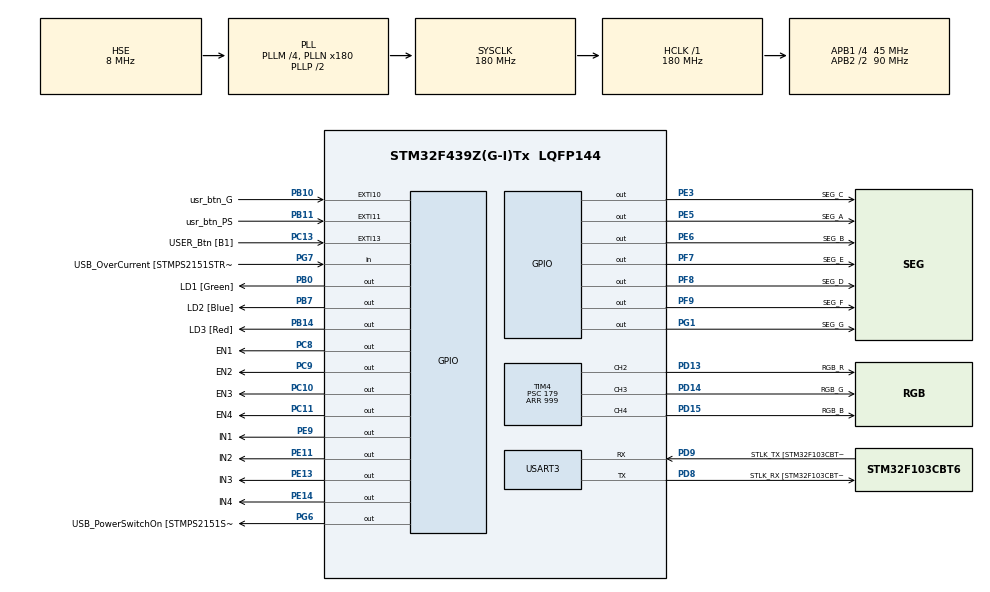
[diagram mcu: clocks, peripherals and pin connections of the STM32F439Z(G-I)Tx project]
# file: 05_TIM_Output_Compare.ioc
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Mcu.Family=STM32F4
Mcu.Name=STM32F439Z(G-I)Tx
Mcu.Package=LQFP144
NVIC.EXTI15_10_IRQn=true\:0\:0\:false\:false\:true\:true\:true\:true
NVIC.PriorityGroup=NVIC_PRIORITYGROUP_4
NVIC.TIM2_IRQn=true\:0\:0\:false\:false\:true\:true\:true\:true
NVIC.TIM5_IRQn=true\:0\:0\:false\:false\:true\:true\:true\:true
PA13.GPIO_Label=TMS
PA13.Mode=Serial_Wire
PA13.Signal=SYS_JTMS-SWDIO
PA14.GPIO_Label=TCK
PA14.Mode=Serial_Wire
PA14.Signal=SYS_JTCK-SWCLK
PB0.GPIO_Label=LD1 [Green]
PB0.Signal=GPIO_Output
PB10.GPIO_Label=usr_btn_G
PB10.GPIO_ModeDefaultEXTI=GPIO_MODE_IT_FALLING
PB10.GPIO_PuPd=GPIO_PULLUP
PB10.Signal=GPXTI10
PB11.GPIO_Label=usr_btn_PS
PB11.GPIO_ModeDefaultEXTI=GPIO_MODE_IT_FALLING
PB11.GPIO_PuPd=GPIO_PULLUP
PB11.Signal=GPXTI11
PB14.GPIO_Label=LD3 [Red]
PB14.Signal=GPIO_Output
PB7.GPIO_Label=LD2 [Blue]
PB7.Signal=GPIO_Output
PC10.GPIO_Label=EN3
PC10.Signal=GPIO_Output
PC11.GPIO_Label=EN4
PC11.Signal=GPIO_Output
PC13.GPIO_Label=USER_Btn [B1]
PC13.Signal=GPXTI13
PC14/OSC32_IN.Mode=LSE-External-Oscillator
PC14/OSC32_IN.Signal=RCC_OSC32_IN
PC15/OSC32_OUT.Mode=LSE-External-Oscillator
PC15/OSC32_OUT.Signal=RCC_OSC32_OUT
PC8.GPIO_Label=EN1
PC8.Signal=GPIO_Output
PC9.GPIO_Label=EN2
PC9.Signal=GPIO_Output
PD13.GPIO_Label=RGB_R
PD13.Signal=S_TIM4_CH2
PD14.GPIO_Label=RGB_G
PD14.Signal=S_TIM4_CH3
PD15.GPIO_Label=RGB_B
PD15.Signal=S_TIM4_CH4
PD8.GPIO_Label=STLK_RX [STM32F103CBT6_PA3]
PD8.Mode=Asynchronous
PD8.Signal=USART3_TX
PD9.GPIO_Label=STLK_TX [STM32F103CBT6_PA2]
PD9.Mode=Asynchronous
PD9.Signal=USART3_RX
PE11.GPIO_Label=IN2
PE11.Signal=GPIO_Output
PE13.GPIO_Label=IN3
PE13.Signal=GPIO_Output
PE14.GPIO_Label=IN4
PE14.Signal=GPIO_Output
PE3.GPIO_Label=SEG_C
PE3.Signal=GPIO_Output
PE5.GPIO_Label=SEG_A
PE5.Signal=GPIO_Output
PE6.GPIO_Label=SEG_B
PE6.Signal=GPIO_Output
PE9.GPIO_Label=IN1
PE9.Signal=GPIO_Output
PF7.GPIO_Label=SEG_E
PF7.Signal=GPIO_Output
PF8.GPIO_Label=SEG_D
PF8.Signal=GPIO_Output
PF9.GPIO_Label=SEG_F
PF9.Signal=GPIO_Output
PG1.GPIO_Label=SEG_G
PG1.Signal=GPIO_Output
PG6.GPIO_Label=USB_PowerSwitchOn [STMPS2151STR_EN]
PG6.Signal=GPIO_Output
PG7.GPIO_Label=USB_OverCurrent [STMPS2151STR_FAULT]
PG7.Signal=GPIO_Input
PH0/OSC_IN.GPIO_Label=MCO [STM32F103CBT6_PA8]
PH0/OSC_IN.Mode=HSE-External-Oscillator
PH0/OSC_IN.Signal=RCC_OSC_IN
PH1/OSC_OUT.Mode=HSE-External-Oscillator
PH1/OSC_OUT.Signal=RCC_OSC_OUT
ProjectManager.HeapSize=0x200
ProjectManager.StackSize=0x400
ProjectManager.TargetToolchain=STM32CubeIDE
RCC.48MHZClocksFreq_Value=51428571.428571425
RCC.AHBFreq_Value=180000000
RCC.APB1CLKDivider=RCC_HCLK_DIV4
RCC.APB1Freq_Value=45000000
RCC.APB1TimFreq_Value=90000000
RCC.APB2CLKDivider=RCC_HCLK_DIV2
RCC.APB2Freq_Value=90000000
RCC.APB2TimFreq_Value=180000000
RCC.CortexFreq_Value=180000000
RCC.HCLKFreq_Value=180000000
RCC.HSE_VALUE=8000000
RCC.HSI_VALUE=16000000
RCC.PLLM=4
RCC.PLLMUL=RCC_PLL_MUL9
RCC.PLLN=180
RCC.PLLQ=7
RCC.PLLSourceVirtual=RCC_PLLSOURCE_HSE
RCC.PRESCALERUSB=RCC_USBCLKSOURCE_PLL_DIV1_5
RCC.SYSCLKFreq_VALUE=180000000
RCC.SYSCLKSource=RCC_SYSCLKSOURCE_PLLCLK
RCC.SYSCLKSourceVirtual=RCC_SYSCLKSOURCE_PLLCLK
RCC.USBFreq_Value=48000000
RCC.VCOOutputFreq_Value=360000000
SH.S_TIM4_CH2.0=TIM4_CH2,PWM Generation2 CH2
SH.S_TIM4_CH3.0=TIM4_CH3,PWM Generation3 CH3
SH.S_TIM4_CH4.0=TIM4_CH4,PWM Generation4 CH4
TIM2.Period=1999
TIM2.Prescaler=89
TIM4.Channel-PWM\ Generation2\ CH2=TIM_CHANNEL_2
TIM4.Channel-PWM\ Generation3\ CH3=TIM_CHANNEL_3
TIM4.Channel-PWM\ Generation4\ CH4=TIM_CHANNEL_4
TIM4.Period=999
TIM4.Prescaler=179
TIM5.Channel-Output\ Compare1\ No\ Output=TIM_CHANNEL_1
TIM5.OCMode_1=TIM_OCMODE_TOGGLE
TIM5.Prescaler=89
USART3.VirtualMode=VM_ASYNC
VP_TIM2_VS_ClockSourceINT.Mode=Internal
VP_TIM4_VS_ClockSourceINT.Mode=Internal
VP_TIM5_VS_ClockSourceINT.Mode=Internal
VP_TIM5_VS_no_output1.Mode=Output Compare1 No Output
board=NUCLEO-F439ZI

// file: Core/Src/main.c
/* USER CODE BEGIN Header */
/**
 ******************************************************************************
 * @file           : main.c
 * @brief          : Main program body
 ******************************************************************************
 * @attention
 *
 * Copyright (c) 2026 STMicroelectronics.
 * All rights reserved.
 *
 * This software is licensed under terms that can be found in the LICENSE file
 * in the root directory of this software component.
 * If no LICENSE file comes with this software, it is provided AS-IS.
 *
 ******************************************************************************
 */
/* USER CODE END Header */
#include "main.h"

/* USER CODE BEGIN Includes */
#include "rgb_led.h"
#include "Display_7Seg.h"
#include "step_motor_28BYJ48.h"
#include "stdio.h"
#include "string.h"
/* USER CODE END Includes */

TIM_HandleTypeDef htim2;
TIM_HandleTypeDef htim4;
TIM_HandleTypeDef htim5;

UART_HandleTypeDef huart3;

/* USER CODE BEGIN PV */

/* --- Objeto para el Led RGB --- */
rgb_led_t ledRGB;

/* --- Objeto para los display de 7 segmentos --- */
display_7seg_t Display;
uint8_t bufferDisplay[4]; //buffer para la cantidad de displays

/* --- Objeto para el motor --- */
Stepper_t motor1;

/* Banderas y Variables de Estado */
typedef enum {
	MOTOR_STOPPED = 0,
	MOTOR_RUNNING
} MotorState_t;

volatile MotorState_t current_state = MOTOR_STOPPED;
volatile uint8_t flag_update_display = 0;
uint32_t last_telemetry_tick = 0;
uint32_t last_display_tick = 0;

char uart_buf[100];
uint32_t step_delay = 900; // marca la velocidad del motor

/* USER CODE END PV */

void SystemClock_Config(void);
static void MX_GPIO_Init(void);
static void MX_USART3_UART_Init(void);
static void MX_TIM5_Init(void);
static void MX_TIM2_Init(void);
static void MX_TIM4_Init(void);
/* USER CODE BEGIN PFP */

/* --- Prototipos de Funciones de Aplicación --- */
void Debug_Log(const char *msg);
void Update_Display_String(void);

/* --- Prototipos de Funciones Adaptadoras (Capa de Acoplamiento / PAL) --- */
void	 PAL_STM32_GPIO_Write(generic_gpio_t gpio, bool state);
void     PAL_STM32_PWM_Write(generic_pwm_t ch, uint16_t value);
uint32_t PAL_STM32_GetTick(void);
uint32_t PAL_STM32_OC_Read(generic_pwm_t ch);
void	 PAL_STM32_OC_Write(generic_pwm_t ch, uint32_t value);

void     PAL_Display_WritePin(display_gpio_t pin, bool state);
bool     PAL_Display_ReadPin(display_gpio_t pin);
uint32_t PAL_Display_GetTick(void);

/* USER CODE END PFP */

/* USER CODE BEGIN 0 */

void Debug_Log(const char *msg) {
	HAL_UART_Transmit(&huart3, (uint8_t*)msg, strlen(msg), 100);
}

void Update_Display_String(void) {
	char status_str[5];
	if (current_state == MOTOR_RUNNING) {
		float rpm = (60.0f * 1000000.0f) / (step_delay * 4096.0f);

		// CORREGIDO: Puntero a string con comillas dobles
		const char* dir_str = (motor1.direction == STEP_CW) ? "SH" : "SA";

		// CORREGIDO: Cambiamos %c por %s
		sprintf(status_str, "%s%02d", dir_str, (int)rpm);
		Display7Seg_WriteString(&Display, status_str);
	} else {
		Display7Seg_WriteString(&Display, "StP");
	}
}

/* ========================================================================== */
/* ---- IMPLEMENTACIÓN DE ADAPTADORES DE HARDWARE (CONTRATOS PAL) ----------- */
/* ========================================================================== */

/* --- Adaptadores para PAL Universal --- */

void PAL_STM32_GPIO_Write(generic_gpio_t gpio, bool state) {
    HAL_GPIO_WritePin((GPIO_TypeDef*)gpio.port, gpio.pin, state ? GPIO_PIN_SET : GPIO_PIN_RESET);
}

void PAL_STM32_PWM_Write(generic_pwm_t ch, uint16_t value) {
	__HAL_TIM_SET_COMPARE((TIM_HandleTypeDef*)ch.timer_handle, ch.channel, value);
}

uint32_t PAL_STM32_GetTick(void) {
	return HAL_GetTick();
}

uint32_t PAL_STM32_OC_Read(generic_pwm_t ch) {
    return HAL_TIM_ReadCapturedValue((TIM_HandleTypeDef*)ch.timer_handle, ch.channel);
}

void PAL_STM32_OC_Write(generic_pwm_t ch, uint32_t value) {
    __HAL_TIM_SET_COMPARE((TIM_HandleTypeDef*)ch.timer_handle, ch.channel, value);
}

/* --- Adaptadores para PAL del Display de 7 Segmentos --- */
void PAL_Display_WritePin(display_gpio_t pin, bool state) {
	HAL_GPIO_WritePin((GPIO_TypeDef*)pin.port, pin.pin, state ? GPIO_PIN_SET : GPIO_PIN_RESET);
}

bool PAL_Display_ReadPin(display_gpio_t pin) {
	return (HAL_GPIO_ReadPin((GPIO_TypeDef*)pin.port, pin.pin) == GPIO_PIN_SET);
}

uint32_t PAL_Display_GetTick(void) {
	return HAL_GetTick();
}

/* USER CODE END 0 */

int main(void)
{

	/* MCU Configuration--------------------------------------------------------*/

	/* Reset of all peripherals, Initializes the Flash interface and the Systick. */
	HAL_Init();

	/* Configure the system clock */
	SystemClock_Config();

	/* Initialize all configured peripherals */
	MX_GPIO_Init();
	MX_USART3_UART_Init();
	MX_TIM5_Init();
	MX_TIM2_Init();
	MX_TIM4_Init();
	/* USER CODE BEGIN 2 */

	/* --- Log de Bienvenida: Laboratorio 05 --- */
	Debug_Log("\r\n==========================================\r\n");
	Debug_Log("   LABORATORIO 05: OUTPUT COMPARE (TIM5)  \r\n");
	Debug_Log("   CONTROL DE MOTOR PASO A PASO (28BYJ)   \r\n");
	Debug_Log("   Plataforma: STM32 Nucleo-F439ZI        \r\n");
	Debug_Log("==========================================\r\n");
	Debug_Log("[OK] Nucleo Clock: 180 MHz\r\n");
	Debug_Log(">>> Iniciando Perifericos...\r\n");

	// *********************** CONFIGURACION DEL MOTOR (TEMPORAL) ********************
	hal_interface_t motor_pal = {
	    .gpio_write = PAL_STM32_GPIO_Write, // Reutiliza el de GPIO que ya tenías
	    .oc_read    = PAL_STM32_OC_Read,
	    .oc_write   = PAL_STM32_OC_Write
	};

	generic_gpio_t motor_pins[] = {
	    {IN1_GPIO_Port, IN1_Pin}, {IN2_GPIO_Port, IN2_Pin},
	    {IN3_GPIO_Port, IN3_Pin}, {IN4_GPIO_Port, IN4_Pin}
	};
	generic_pwm_t motor_oc = { .timer_handle = &htim5, .channel = TIM_CHANNEL_1 };

	Stepper_Init(&motor1, motor_pins, motor_oc, MODE_HALF_STEP, step_delay, motor_pal);
	Stepper_Stop(&motor1);
	Debug_Log("[OK] Driver Stepper Temporal Activo\r\n");

	// Sincronización Inicial del Output Compare (TIM5)
	uint32_t initial_capture = __HAL_TIM_GET_COUNTER(&htim5);
	__HAL_TIM_SET_COMPARE(&htim5, TIM_CHANNEL_1, initial_capture + step_delay);
	HAL_TIM_OC_Start_IT(&htim5, TIM_CHANNEL_1);
	Debug_Log("[OK] Periferico TIM5: Output Compare Sincronizado\r\n");

	// *********************** CONFIGURACION DEL DISPLAY DE 7 SEGMENTOS ********************
	// 1. Mapeo de Hardware a tipos display_gpio_t
	static display_gpio_t segmentos[] = {
			{SEG_A_GPIO_Port, SEG_A_Pin}, {SEG_B_GPIO_Port, SEG_B_Pin},
			{SEG_C_GPIO_Port, SEG_C_Pin}, {SEG_D_GPIO_Port, SEG_D_Pin},
			{SEG_E_GPIO_Port, SEG_E_Pin}, {SEG_F_GPIO_Port, SEG_F_Pin},
			{SEG_G_GPIO_Port, SEG_G_Pin}
	};
	static display_gpio_t comunes[] = {
			{EN4_GPIO_Port, EN4_Pin}, {EN3_GPIO_Port, EN3_Pin},
			{EN2_GPIO_Port, EN2_Pin}, {EN1_GPIO_Port, EN1_Pin}
	};

	// 2. Vinculación de la vtable (PAL) específica
	display_7seg_pal_t display_pal = {
			.write_pin = PAL_Display_WritePin,
			.read_pin  = PAL_Display_ReadPin,
			.get_tick  = PAL_Display_GetTick
	};

	// 3. Inicialización del objeto
	Display7Seg_Init(&Display, display_pal, segmentos, comunes, 4, bufferDisplay, DISPLAY_CATHODE);
	HAL_TIM_Base_Start_IT(&htim2); // Arranca el latido del multiplexado (TIM2 ISR)

	Display7Seg_SetBrightness(&Display, 80);
	Display7Seg_WriteString(&Display, "HOLA");
	HAL_Delay(1000);
	Debug_Log("[OK] Driver 7 Segmentos: Objeto Inicializado con PAL\r\n");

	// *********************** CONFIGURACION DEL LED RGB ***********************
	// 1. Descriptores genéricos de canales PWM
	generic_pwm_t ch_r = { .timer_handle = &htim4, .channel = TIM_CHANNEL_2 };
	generic_pwm_t ch_g = { .timer_handle = &htim4, .channel = TIM_CHANNEL_3 };
	generic_pwm_t ch_b = { .timer_handle = &htim4, .channel = TIM_CHANNEL_4 };

	// 2. Vinculación de la vtable (PAL) Universal
	hal_interface_t led_pal = {
			.pwm_write = PAL_STM32_PWM_Write,
			.get_tick  = PAL_STM32_GetTick
	};

	// 3. Inicialización del objeto
	RGB_LED_Init(&ledRGB, ch_r, ch_g, ch_b, RGB_ANODE_COMMON, 500, led_pal);
	RGB_LED_SetColor(&ledRGB, 1000, 0, 0); // Estado inicial rojo estático (STOP)
	Debug_Log("[OK] Driver LED RGB: Inicializado con PAL Universal\r\n");

	Debug_Log(">>> Infraestructura Lista. Corriendo Scheduler...\r\n\r\n");
	/* USER CODE END 2 */

	/* Infinite loop */
	while (1)
	{

		/* USER CODE BEGIN 3 */

		uint32_t current_tick = HAL_GetTick();

		/* --- Tarea 1: Tarea periódica de Efectos RGB (No bloqueante) --- */
		// Procesa las transiciones cromáticas de la Capa 2
		RGB_LED_Task(&ledRGB, 15, 5);

		/* --- Tarea 2: Máquina de Estados de la Aplicación (Banderas EXTI) --- */
		if (flag_update_display) {
			flag_update_display = 0;

			if (current_state == MOTOR_RUNNING) {
				RGB_LED_StopEffect(&ledRGB);
				Display7Seg_SetFlash(&Display, 0); // Sólido en marcha

				// Asignación semántica de colores según dirección de giro
				if (motor1.direction == STEP_CW) {
					RGB_LED_SetColor(&ledRGB, 0, 1000, 0); // Verde Puro con Gamma
					Debug_Log("[EVENT] Motor RUN -> Dirección: CW (Horario)\r\n");
				} else {
					RGB_LED_SetColor(&ledRGB, 0, 0, 1000); // Azul Puro con Gamma
					Debug_Log("[EVENT] Motor RUN -> Dirección: CCW (Antihorario)\r\n");
				}
			} else {
				// Feedback de parada: Rojo Fijo y Display Destellando
				RGB_LED_StopEffect(&ledRGB);
				RGB_LED_SetColor(&ledRGB, 1000, 0, 0); // Rojo de Advertencia
				Display7Seg_SetFlash(&Display, 500);   // Parpadeo cada 500ms
				Debug_Log("[EVENT] Motor STOPPED (Lazo Seguro)\r\n");
			}

			last_display_tick = current_tick;
			Update_Display_String();
		}

		/* --- Tarea 3: Reporte de Telemetría UART (Cada 1000ms) --- */
		if (current_tick - last_telemetry_tick >= 1000) {
			last_telemetry_tick = current_tick;

			if (current_state == MOTOR_RUNNING) {
				float rpm = (60.0f * 1000000.0f) / (step_delay * 4096.0f);
				snprintf(uart_buf, sizeof(uart_buf),
						"[STATUS] State: RUN | Dir: %s | RPM: %.2f | Delay: %lu us\r\n",
						(motor1.direction == STEP_CW) ? "CW" : "CCW", rpm, step_delay);
			} else {
				snprintf(uart_buf, sizeof(uart_buf), "[STATUS] State: IDLE | Esperando Comandos de Usuario...\r\n");
			}
			Debug_Log(uart_buf);
		}

		/* --- Tarea 4: Actualización de Memoria de Display (Cada 200ms) --- */
		if (current_tick - last_display_tick >= 200) {
			last_display_tick = current_tick;
			Update_Display_String();
		}

	}
	/* USER CODE END 3 */
}

void SystemClock_Config(void)
{
	RCC_OscInitTypeDef RCC_OscInitStruct = {0};
	RCC_ClkInitTypeDef RCC_ClkInitStruct = {0};

	/** Configure the main internal regulator output voltage
	 */
	__HAL_RCC_PWR_CLK_ENABLE();
	__HAL_PWR_VOLTAGESCALING_CONFIG(PWR_REGULATOR_VOLTAGE_SCALE1);

	/** Initializes the RCC Oscillators according to the specified parameters
	 * in the RCC_OscInitTypeDef structure.
	 */
	RCC_OscInitStruct.OscillatorType = RCC_OSCILLATORTYPE_HSE;
	RCC_OscInitStruct.HSEState = RCC_HSE_ON;
	RCC_OscInitStruct.PLL.PLLState = RCC_PLL_ON;
	RCC_OscInitStruct.PLL.PLLSource = RCC_PLLSOURCE_HSE;
	RCC_OscInitStruct.PLL.PLLM = 4;
	RCC_OscInitStruct.PLL.PLLN = 180;
	RCC_OscInitStruct.PLL.PLLP = RCC_PLLP_DIV2;
	RCC_OscInitStruct.PLL.PLLQ = 7;
	if (HAL_RCC_OscConfig(&RCC_OscInitStruct) != HAL_OK)
	{
		Error_Handler();
	}

	/** Activate the Over-Drive mode
	 */
	if (HAL_PWREx_EnableOverDrive() != HAL_OK)
	{
		Error_Handler();
	}

	/** Initializes the CPU, AHB and APB buses clocks
	 */
	RCC_ClkInitStruct.ClockType = RCC_CLOCKTYPE_HCLK|RCC_CLOCKTYPE_SYSCLK
			|RCC_CLOCKTYPE_PCLK1|RCC_CLOCKTYPE_PCLK2;
	RCC_ClkInitStruct.SYSCLKSource = RCC_SYSCLKSOURCE_PLLCLK;
	RCC_ClkInitStruct.AHBCLKDivider = RCC_SYSCLK_DIV1;
	RCC_ClkInitStruct.APB1CLKDivider = RCC_HCLK_DIV4;
	RCC_ClkInitStruct.APB2CLKDivider = RCC_HCLK_DIV2;

	if (HAL_RCC_ClockConfig(&RCC_ClkInitStruct, FLASH_LATENCY_5) != HAL_OK)
	{
		Error_Handler();
	}
}

static void MX_TIM2_Init(void)
{

	TIM_ClockConfigTypeDef sClockSourceConfig = {0};
	TIM_MasterConfigTypeDef sMasterConfig = {0};

	htim2.Instance = TIM2;
	htim2.Init.Prescaler = 89;
	htim2.Init.CounterMode = TIM_COUNTERMODE_UP;
	htim2.Init.Period = 1999;
	htim2.Init.ClockDivision = TIM_CLOCKDIVISION_DIV1;
	htim2.Init.AutoReloadPreload = TIM_AUTORELOAD_PRELOAD_DISABLE;
	if (HAL_TIM_Base_Init(&htim2) != HAL_OK)
	{
		Error_Handler();
	}
	sClockSourceConfig.ClockSource = TIM_CLOCKSOURCE_INTERNAL;
	if (HAL_TIM_ConfigClockSource(&htim2, &sClockSourceConfig) != HAL_OK)
	{
		Error_Handler();
	}
	sMasterConfig.MasterOutputTrigger = TIM_TRGO_RESET;
	sMasterConfig.MasterSlaveMode = TIM_MASTERSLAVEMODE_DISABLE;
	if (HAL_TIMEx_MasterConfigSynchronization(&htim2, &sMasterConfig) != HAL_OK)
	{
		Error_Handler();
	}

}

static void MX_TIM4_Init(void)
{

	TIM_ClockConfigTypeDef sClockSourceConfig = {0};
	TIM_MasterConfigTypeDef sMasterConfig = {0};
	TIM_OC_InitTypeDef sConfigOC = {0};

	htim4.Instance = TIM4;
	htim4.Init.Prescaler = 179;
	htim4.Init.CounterMode = TIM_COUNTERMODE_UP;
	htim4.Init.Period = 999;
	htim4.Init.ClockDivision = TIM_CLOCKDIVISION_DIV1;
	htim4.Init.AutoReloadPreload = TIM_AUTORELOAD_PRELOAD_DISABLE;
	if (HAL_TIM_Base_Init(&htim4) != HAL_OK)
	{
		Error_Handler();
	}
	sClockSourceConfig.ClockSource = TIM_CLOCKSOURCE_INTERNAL;
	if (HAL_TIM_ConfigClockSource(&htim4, &sClockSourceConfig) != HAL_OK)
	{
		Error_Handler();
	}
	if (HAL_TIM_PWM_Init(&htim4) != HAL_OK)
	{
		Error_Handler();
	}
	sMasterConfig.MasterOutputTrigger = TIM_TRGO_RESET;
	sMasterConfig.MasterSlaveMode = TIM_MASTERSLAVEMODE_DISABLE;
	if (HAL_TIMEx_MasterConfigSynchronization(&htim4, &sMasterConfig) != HAL_OK)
	{
		Error_Handler();
	}
	sConfigOC.OCMode = TIM_OCMODE_PWM1;
	sConfigOC.Pulse = 0;
	sConfigOC.OCPolarity = TIM_OCPOLARITY_HIGH;
	sConfigOC.OCFastMode = TIM_OCFAST_DISABLE;
	if (HAL_TIM_PWM_ConfigChannel(&htim4, &sConfigOC, TIM_CHANNEL_2) != HAL_OK)
	{
		Error_Handler();
	}
	if (HAL_TIM_PWM_ConfigChannel(&htim4, &sConfigOC, TIM_CHANNEL_3) != HAL_OK)
	{
		Error_Handler();
	}
	if (HAL_TIM_PWM_ConfigChannel(&htim4, &sConfigOC, TIM_CHANNEL_4) != HAL_OK)
	{
		Error_Handler();
	}
	HAL_TIM_MspPostInit(&htim4);

}

static void MX_TIM5_Init(void)
{

	TIM_ClockConfigTypeDef sClockSourceConfig = {0};
	TIM_MasterConfigTypeDef sMasterConfig = {0};
	TIM_OC_InitTypeDef sConfigOC = {0};

	htim5.Instance = TIM5;
	htim5.Init.Prescaler = 89;
	htim5.Init.CounterMode = TIM_COUNTERMODE_UP;
	htim5.Init.Period = 4294967295;
	htim5.Init.ClockDivision = TIM_CLOCKDIVISION_DIV1;
	htim5.Init.AutoReloadPreload = TIM_AUTORELOAD_PRELOAD_DISABLE;
	if (HAL_TIM_Base_Init(&htim5) != HAL_OK)
	{
		Error_Handler();
	}
	sClockSourceConfig.ClockSource = TIM_CLOCKSOURCE_INTERNAL;
	if (HAL_TIM_ConfigClockSource(&htim5, &sClockSourceConfig) != HAL_OK)
	{
		Error_Handler();
	}
	if (HAL_TIM_OC_Init(&htim5) != HAL_OK)
	{
		Error_Handler();
	}
	sMasterConfig.MasterOutputTrigger = TIM_TRGO_RESET;
	sMasterConfig.MasterSlaveMode = TIM_MASTERSLAVEMODE_DISABLE;
	if (HAL_TIMEx_MasterConfigSynchronization(&htim5, &sMasterConfig) != HAL_OK)
	{
		Error_Handler();
	}
	sConfigOC.OCMode = TIM_OCMODE_TOGGLE;
	sConfigOC.Pulse = 0;
	sConfigOC.OCPolarity = TIM_OCPOLARITY_HIGH;
	sConfigOC.OCFastMode = TIM_OCFAST_DISABLE;
	if (HAL_TIM_OC_ConfigChannel(&htim5, &sConfigOC, TIM_CHANNEL_1) != HAL_OK)
	{
		Error_Handler();
	}

}

static void MX_USART3_UART_Init(void)
{

	huart3.Instance = USART3;
	huart3.Init.BaudRate = 115200;
	huart3.Init.WordLength = UART_WORDLENGTH_8B;
	huart3.Init.StopBits = UART_STOPBITS_1;
	huart3.Init.Parity = UART_PARITY_NONE;
	huart3.Init.Mode = UART_MODE_TX_RX;
	huart3.Init.HwFlowCtl = UART_HWCONTROL_NONE;
	huart3.Init.OverSampling = UART_OVERSAMPLING_16;
	if (HAL_UART_Init(&huart3) != HAL_OK)
	{
		Error_Handler();
	}

}

static void MX_GPIO_Init(void)
{
	GPIO_InitTypeDef GPIO_InitStruct = {0};

	/* GPIO Ports Clock Enable */
	__HAL_RCC_GPIOE_CLK_ENABLE();
	__HAL_RCC_GPIOC_CLK_ENABLE();
	__HAL_RCC_GPIOF_CLK_ENABLE();
	__HAL_RCC_GPIOH_CLK_ENABLE();
	__HAL_RCC_GPIOB_CLK_ENABLE();
	__HAL_RCC_GPIOG_CLK_ENABLE();
	__HAL_RCC_GPIOD_CLK_ENABLE();
	__HAL_RCC_GPIOA_CLK_ENABLE();

	/*Configure GPIO pin Output Level */
	HAL_GPIO_WritePin(GPIOE, SEG_C_Pin|SEG_A_Pin|SEG_B_Pin|IN1_Pin
			|IN2_Pin|IN3_Pin|IN4_Pin, GPIO_PIN_RESET);

	/*Configure GPIO pin Output Level */
	HAL_GPIO_WritePin(GPIOF, SEG_E_Pin|SEG_D_Pin|SEG_F_Pin, GPIO_PIN_RESET);

	/*Configure GPIO pin Output Level */
	HAL_GPIO_WritePin(GPIOB, LD1_Pin|LD3_Pin|LD2_Pin, GPIO_PIN_RESET);

	/*Configure GPIO pin Output Level */
	HAL_GPIO_WritePin(GPIOG, SEG_G_Pin|USB_PowerSwitchOn_Pin, GPIO_PIN_RESET);

	/*Configure GPIO pin Output Level */
	HAL_GPIO_WritePin(GPIOC, EN1_Pin|EN2_Pin|EN3_Pin|EN4_Pin, GPIO_PIN_RESET);

	/*Configure GPIO pins : SEG_C_Pin SEG_A_Pin SEG_B_Pin IN1_Pin
                           IN2_Pin IN3_Pin IN4_Pin */
	GPIO_InitStruct.Pin = SEG_C_Pin|SEG_A_Pin|SEG_B_Pin|IN1_Pin
			|IN2_Pin|IN3_Pin|IN4_Pin;
	GPIO_InitStruct.Mode = GPIO_MODE_OUTPUT_PP;
	GPIO_InitStruct.Pull = GPIO_NOPULL;
	GPIO_InitStruct.Speed = GPIO_SPEED_FREQ_LOW;
	HAL_GPIO_Init(GPIOE, &GPIO_InitStruct);

	/*Configure GPIO pin : USER_Btn_Pin */
	GPIO_InitStruct.Pin = USER_Btn_Pin;
	GPIO_InitStruct.Mode = GPIO_MODE_IT_RISING;
	GPIO_InitStruct.Pull = GPIO_NOPULL;
	HAL_GPIO_Init(USER_Btn_GPIO_Port, &GPIO_InitStruct);

	/*Configure GPIO pins : SEG_E_Pin SEG_D_Pin SEG_F_Pin */
	GPIO_InitStruct.Pin = SEG_E_Pin|SEG_D_Pin|SEG_F_Pin;
	GPIO_InitStruct.Mode = GPIO_MODE_OUTPUT_PP;
	GPIO_InitStruct.Pull = GPIO_NOPULL;
	GPIO_InitStruct.Speed = GPIO_SPEED_FREQ_LOW;
	HAL_GPIO_Init(GPIOF, &GPIO_InitStruct);

	/*Configure GPIO pins : LD1_Pin LD3_Pin LD2_Pin */
	GPIO_InitStruct.Pin = LD1_Pin|LD3_Pin|LD2_Pin;
	GPIO_InitStruct.Mode = GPIO_MODE_OUTPUT_PP;
	GPIO_InitStruct.Pull = GPIO_NOPULL;
	GPIO_InitStruct.Speed = GPIO_SPEED_FREQ_LOW;
	HAL_GPIO_Init(GPIOB, &GPIO_InitStruct);

	/*Configure GPIO pins : SEG_G_Pin USB_PowerSwitchOn_Pin */
	GPIO_InitStruct.Pin = SEG_G_Pin|USB_PowerSwitchOn_Pin;
	GPIO_InitStruct.Mode = GPIO_MODE_OUTPUT_PP;
	GPIO_InitStruct.Pull = GPIO_NOPULL;
	GPIO_InitStruct.Speed = GPIO_SPEED_FREQ_LOW;
	HAL_GPIO_Init(GPIOG, &GPIO_InitStruct);

	/*Configure GPIO pins : usr_btn_G_Pin usr_btn_PS_Pin */
	GPIO_InitStruct.Pin = usr_btn_G_Pin|usr_btn_PS_Pin;
	GPIO_InitStruct.Mode = GPIO_MODE_IT_FALLING;
	GPIO_InitStruct.Pull = GPIO_PULLUP;
	HAL_GPIO_Init(GPIOB, &GPIO_InitStruct);

	/*Configure GPIO pin : USB_OverCurrent_Pin */
	GPIO_InitStruct.Pin = USB_OverCurrent_Pin;
	GPIO_InitStruct.Mode = GPIO_MODE_INPUT;
	GPIO_InitStruct.Pull = GPIO_NOPULL;
	HAL_GPIO_Init(USB_OverCurrent_GPIO_Port, &GPIO_InitStruct);

	/*Configure GPIO pins : EN1_Pin EN2_Pin EN3_Pin EN4_Pin */
	GPIO_InitStruct.Pin = EN1_Pin|EN2_Pin|EN3_Pin|EN4_Pin;
	GPIO_InitStruct.Mode = GPIO_MODE_OUTPUT_PP;
	GPIO_InitStruct.Pull = GPIO_NOPULL;
	GPIO_InitStruct.Speed = GPIO_SPEED_FREQ_LOW;
	HAL_GPIO_Init(GPIOC, &GPIO_InitStruct);

	/* EXTI interrupt init*/
	HAL_NVIC_SetPriority(EXTI15_10_IRQn, 0, 0);
	HAL_NVIC_EnableIRQ(EXTI15_10_IRQn);

}

/* USER CODE BEGIN 4 */

/**
 * @brief Callback de Interrupción de Base de Tiempo (TIM2).
 * @details El hardware de ST despierta al micro y delega el multiplexado físico
 * al método de la Capa 2.
 */
void HAL_TIM_PeriodElapsedCallback(TIM_HandleTypeDef *htim) {
	if (htim->Instance == TIM2) {
		Display7Seg_Refresh_ISR(&Display);
	}
}

/**
 * @brief Callback de Interrupción Externa por flanco de bajada (PB10/PB11).
 */
void HAL_GPIO_EXTI_Callback(uint16_t GPIO_Pin) {
	uint32_t interrupt_time = HAL_GetTick();
	static uint32_t last_btn_start_time = 0;
	static uint32_t last_btn_dir_time = 0;

	/* --- Entrada Start/Stop (PB11) --- */
	if (GPIO_Pin == usr_btn_PS_Pin) {
		if (interrupt_time - last_btn_start_time > 250) {
			if (current_state == MOTOR_STOPPED) {
				current_state = MOTOR_RUNNING;
				Stepper_Start(&motor1);
			} else {
				current_state = MOTOR_STOPPED;
				Stepper_Stop(&motor1);
			}
			flag_update_display = 1;
			last_btn_start_time = interrupt_time;
		}
	}

	/* --- Entrada Cambio de Sentido (PB10) --- */
	if (GPIO_Pin == usr_btn_G_Pin) {
		if (interrupt_time - last_btn_dir_time > 250) {
			if (motor1.direction == STEP_CW) {
				Stepper_Set_Direction(&motor1, STEP_CCW);
			} else {
				Stepper_Set_Direction(&motor1, STEP_CW);
			}
			flag_update_display = 1;
			last_btn_dir_time = interrupt_time;
		}
	}
}

/**
 * @brief Callback de comparación de salida (Output Compare) del Timer.
 * @details El hardware de ST genera la interrupción física y asíncrona.
 * La aplicación valida el canal correspondiente y le delega la
 * responsabilidad completa del movimiento y del acumulador de fase
 * al manejador de Capa 2 del objeto motor.
 * @param htim Puntero a la estructura nativa del Timer de ST que generó el evento.
 */
void HAL_TIM_OC_DelayElapsedCallback(TIM_HandleTypeDef *htim) {
    /* 1. Validar que la interrupción provenga del TIM5 y del Canal 1 (Alarma Fantasma) */
    if (htim->Instance == TIM5) {
        if (htim->Channel == HAL_TIM_ACTIVE_CHANNEL_1) {

            /* 2. Delegar TODA la lógica al manejador agnóstico de Capa 2 */
            Stepper_OC_Handler(&motor1);

        }
    }
}
/* USER CODE END 4 */

void Error_Handler(void)
{
	__disable_irq();
	while (1)
	{
	}
}
